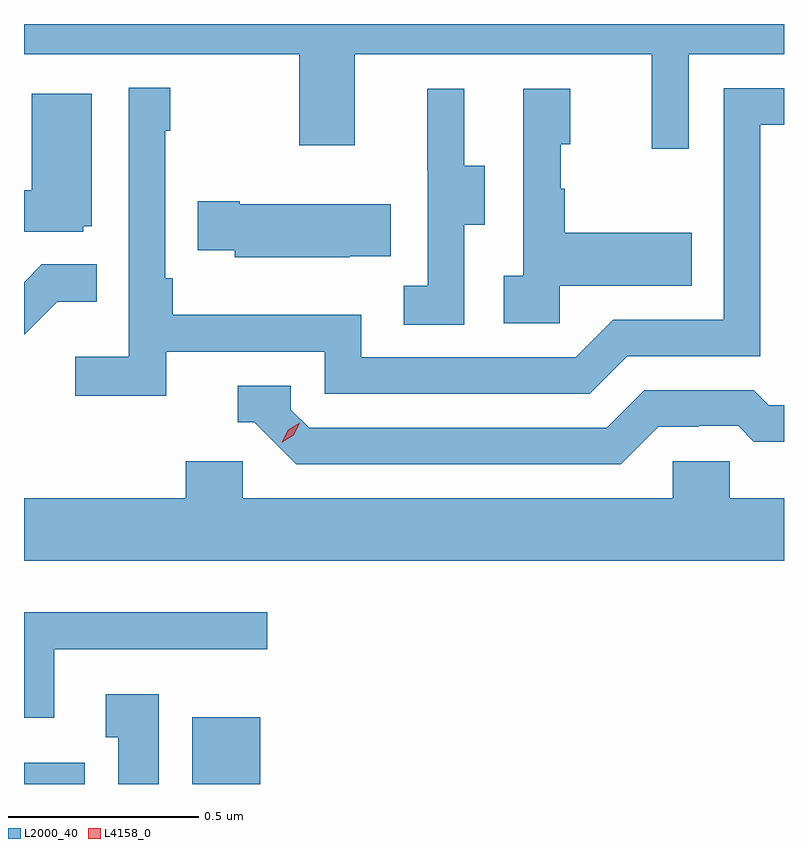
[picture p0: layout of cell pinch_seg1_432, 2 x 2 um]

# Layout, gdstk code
import gdstk
lib = gdstk.Library(unit=1e-6, precision=1e-09)
def R(c, l, rs):  # rectangles x0, y0, x1, y1
    for r in rs: c.add(gdstk.rectangle(r[:2], r[2:], *l))
def P(c, l, *ps):  # polygons
    for p in ps: c.add(gdstk.Polygon(p, *l))
L2000_40 = (2000, 40)
L4158_0 = (4158, 0)

pinch_seg1_432 = lib.new_cell('pinch_seg1_432')
R(pinch_seg1_432, L2000_40, [(937.218,524.504,937.378,524.56), (937.661,524.504,937.84,524.68)])
P(pinch_seg1_432, L2000_40, [(938.967,526.424),(939.218,526.424),(939.218,526.504),(937.218,526.504),(937.218,526.424),(937.942,526.424),(937.942,526.185),(938.089,526.185),(938.089,526.424),(938.87,526.424),(938.87,526.176),(938.967,526.176)],
  [(937.592,525.642),(938.01,525.642),(938.01,525.531),(938.707,525.531),(938.806,525.63),(939.156,525.63),(939.156,526.239),(939.218,526.239),(939.218,526.335),(939.06,526.335),(939.06,525.726),(938.769,525.726),(938.67,525.627),(938.106,525.627),(938.106,525.739),(937.61,525.739),(937.61,525.835),(937.59,525.835),(937.59,526.223),(937.603,526.223),(937.603,526.336),(937.494,526.336),(937.494,525.628),(937.353,525.628),(937.353,525.526),(937.592,525.526)],
  [(938.628,525.815),(938.975,525.815),(938.975,525.955),(938.641,525.955),(938.641,526.07),(938.631,526.07),(938.631,526.188),(938.656,526.188),(938.656,526.333),(938.532,526.333),(938.532,525.842),(938.481,525.842),(938.481,525.717),(938.628,525.717)],
  [(938.376,525.976),(938.431,525.976),(938.431,526.131),(938.377,526.131),(938.377,526.333),(938.279,526.333),(938.279,526.119),(938.28,526.119),(938.28,525.815),(938.217,525.815),(938.217,525.712),(938.376,525.712)],
  [(937.374,525.972),(937.396,525.972),(937.396,526.321),(937.238,526.321),(937.238,526.066),(937.218,526.066),(937.218,525.957),(937.374,525.957)],
  [(938.075,525.893),(938.183,525.893),(938.183,526.03),(937.786,526.03),(937.786,526.038),(937.675,526.038),(937.675,525.908),(937.773,525.908),(937.773,525.89),(938.075,525.89)],
  [(937.305,525.773),(937.409,525.773),(937.409,525.872),(937.265,525.872),(937.218,525.825),(937.218,525.686)],
  [(938.887,525.444),(938.994,525.444),(938.994,525.447),(939.097,525.447),(939.139,525.405),(939.218,525.405),(939.218,525.501),(939.178,525.501),(939.139,525.54),(938.85,525.54),(938.751,525.441),(937.968,525.441),(937.92,525.489),(937.92,525.552),(937.781,525.552),(937.781,525.456),(937.824,525.456),(937.935,525.345),(938.788,525.345)],
  [(939.218,525.256),(939.075,525.256),(939.075,525.354),(938.925,525.354),(938.925,525.256),(937.794,525.256),(937.794,525.354),(937.643,525.354),(937.643,525.256),(937.218,525.256),(937.218,525.092),(939.218,525.092)],
  [(937.297,524.859),(937.858,524.859),(937.858,524.956),(937.218,524.956),(937.218,524.678),(937.297,524.678)],
  [(937.573,524.74),(937.433,524.74),(937.433,524.627),(937.466,524.627),(937.466,524.504),(937.573,524.504)])
P(pinch_seg1_432, L4158_0, [(937.896,525.403),(937.896,525.403),(937.913,525.436),(937.944,525.455),(937.944,525.455),(937.944,525.454),(937.928,525.422),(937.897,525.403)])

lib.write_gds('pinch_seg1_432.gds')
